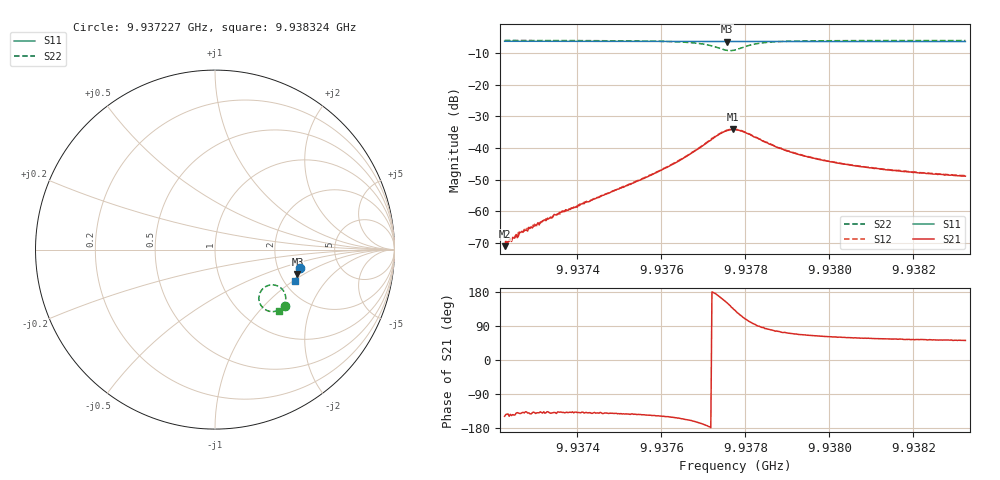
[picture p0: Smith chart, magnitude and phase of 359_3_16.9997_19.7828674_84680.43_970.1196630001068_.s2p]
#  HZ  S  RI  R  50.00
! Rohde & Schwarz Vector Network Analyzer
! Rohde-Schwarz,ZNB20-2Port,1311601062101988,3.16
! Created: UTC 3/20/2024, 11:08:10 PM
! freq[Hz]  re:S11  im:S11  re:S21  im:S21  re:S12  im:S12  re:S22  im:S22
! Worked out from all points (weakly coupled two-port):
!   401 points, 9.937227 GHz to 9.938324 GHz, reference 50 ohm
!   highest |S21| = -34.14 dB at 9.93777 GHz (marker M1); lowest = -71.0 dB at 9.937227 GHz (marker M2)
!   lowest |S11| = -6.4 dB at 9.937756 GHz (marker M3), VSWR 2.84, Z = 124 - j44.1 ohm
!   |S11| at or under -10 dB: nowhere
!   |S22| runs from -9.3 to -6.0 dB; largest |S21 - S12| = 0.00076
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9.9372268e9  0.4726 -0.1033  -0.00024 -0.000147  -0.000233 -0.000183  0.3886 -0.3119
9.937235e9  0.4724 -0.104  -0.000261 -0.0002  -0.000256 -0.000187  0.388 -0.3127
9.9372542e9  0.4721 -0.1053  -0.000329 -0.000276  -0.000309 -0.000285  0.3868 -0.3137
9.9372679e9  0.4717 -0.1062  -0.000366 -0.000317  -0.000361 -0.000284  0.3857 -0.3146
9.9372926e9  0.4714 -0.1078  -0.000415 -0.000354  -0.000471 -0.000363  0.3838 -0.3164
9.9373063e9  0.4711 -0.1087  -0.0005 -0.000433  -0.000488 -0.000406  0.3828 -0.3175
9.9373612e9  0.4699 -0.1124  -0.000708 -0.000653  -0.000754 -0.000631  0.3784 -0.3215
9.9374105e9  0.4689 -0.1157  -0.000972 -0.000881  -0.000984 -0.000838  0.3733 -0.3252
9.9375943e9  0.4646 -0.1281  -0.00363 -0.00231  -0.0037 -0.00228  0.3419 -0.3421
9.9376437e9  0.4633 -0.1312  -0.00573 -0.0028  -0.00589 -0.00276  0.3223 -0.3455
9.9377013e9  0.4613 -0.1352  -0.011 -0.0019  -0.0113 -0.00173  0.279 -0.3336
9.9377342e9  0.46 -0.1368  -0.0156 0.00254  -0.0159 0.00306  0.2479 -0.2925
9.9377561e9  0.459 -0.1375  -0.0165 0.00914  -0.0165 0.00976  0.2509 -0.2407
9.9377698e9  0.459 -0.1378  -0.0143 0.0134  -0.014 0.0141  0.2741 -0.2114
9.9377753e9  0.459 -0.1379  -0.0128 0.0147  -0.0126 0.0152  0.2873 -0.2036
9.9377973e9  0.4593 -0.139  -0.00628 0.0168  -0.00582 0.0171  0.3398 -0.1993
9.9378329e9  0.4592 -0.1415  0.000213 0.0138  0.000602 0.0138  0.384 -0.2341
9.937896e9  0.4581 -0.1462  0.00281 0.00869  0.00305 0.00873  0.3938 -0.2798
9.9379591e9  0.4565 -0.1506  0.00299 0.00631  0.00314 0.00631  0.3884 -0.3018
9.9380359e9  0.4547 -0.1556  0.00279 0.00479  0.00292 0.00479  0.3808 -0.3166
9.9381428e9  0.4518 -0.1625  0.00254 0.00371  0.00264 0.0037  0.3717 -0.3298
9.9383239e9  0.4468 -0.1741  0.00223 0.00282  0.00233 0.00281  0.3588 -0.3442
